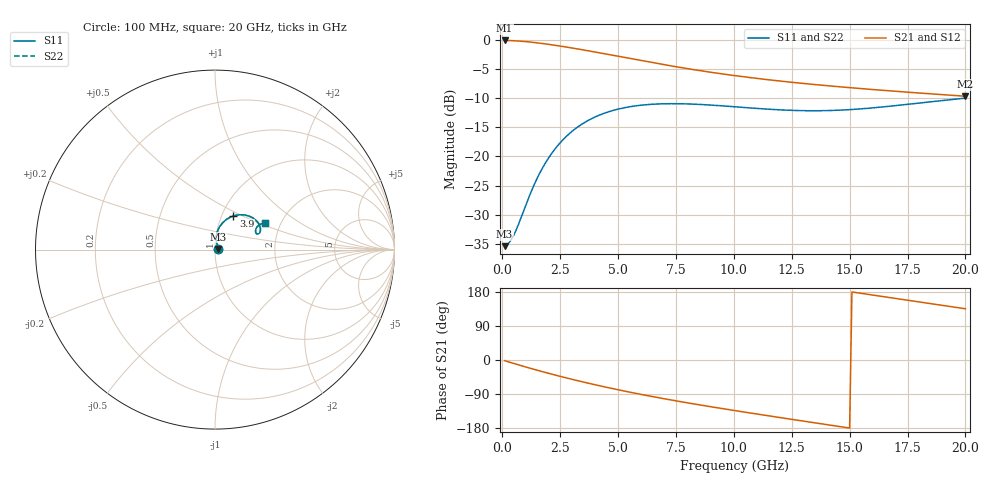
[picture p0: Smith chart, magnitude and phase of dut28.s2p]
! Created with skrf 1.9.0 (http://scikit-rf.org).
# GHz S RI R 50.0
!freq ReS11 ImS11 ReS21 ImS21 ReS12 ImS12 ReS22 ImS22
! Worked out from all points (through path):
!   200 points, 100 MHz to 20 GHz, reference 50 ohm
!   highest |S21| = -0.15 dB at 100 MHz (marker M1); lowest = -9.7 dB at 20 GHz (marker M2)
!   group delay of S21, straight-line fit = 29.5 ps
!   lowest |S11| = -35.3 dB at 100 MHz (marker M3), VSWR 1.03, Z = 51.7 + j0.3 ohm
!   |S11| at or under -10 dB: start of sweep to end of sweep
!   |S22| runs from -35.3 to -10.0 dB; largest |S21 - S12| = 2e-15
!   S11 on the Smith chart (normalised r, x): 100 MHz: 1.03, +0.01; 3.9 GHz: 1.13, +0.44; 20 GHz: 1.66, +0.54
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0.1  0.0168 0.0029  0.9823 -0.0317  0.9823 -0.0317  0.0168 0.0029
0.3  0.016 0.009  0.9764 -0.0946  0.9764 -0.0946  0.016 0.009
0.5  0.0145 0.0156  0.9647 -0.1563  0.9647 -0.1563  0.0145 0.0156
0.9  0.0103 0.0318  0.9259 -0.2729  0.9259 -0.2729  0.0103 0.0318
1.4  0.00696 0.0583  0.8538 -0.401  0.8538 -0.401  0.00696 0.0583
1.7  0.00799 0.0769  0.8014 -0.467  0.8014 -0.467  0.00799 0.0769
2  0.0122 0.0965  0.7442 -0.5245  0.7442 -0.5245  0.0122 0.0965
2.7  0.0349 0.14  0.5999 -0.6265  0.5999 -0.6265  0.0349 0.14
3.5  0.0774 0.1763  0.4303 -0.6929  0.4303 -0.6929  0.0774 0.1763
3.9  0.1017 0.1869  0.3481 -0.7087  0.3481 -0.7087  0.1017 0.1869
4.5  0.1381 0.1939  0.2317 -0.7144  0.2317 -0.7144  0.1381 0.1939
5.2  0.1762 0.1904  0.1094 -0.6991  0.1094 -0.6991  0.1762 0.1904
6  0.2105 0.1764  -0.0102 -0.6611  -0.0102 -0.6611  0.2105 0.1764
6.8  0.2339 0.1571  -0.1087 -0.6093  -0.1087 -0.6093  0.2339 0.1571
8.3  0.2526 0.1211  -0.2435 -0.4951  -0.2435 -0.4951  0.2526 0.1211
10.1  0.2487 0.0935  -0.3407 -0.3521  -0.3407 -0.3521  0.2487 0.0935
11.7  0.237 0.0868  -0.3852 -0.2296  -0.3852 -0.2296  0.237 0.0868
13.4  0.2273 0.0945  -0.3998 -0.1077  -0.3998 -0.1077  0.2273 0.0945
15  0.2263 0.1099  -0.388 -0.00292  -0.388 -0.00292  0.2263 0.1099
16.7  0.2361 0.1282  -0.3522 0.0947  -0.3522 0.0947  0.2361 0.1282
18.4  0.2554 0.1422  -0.2971 0.1744  -0.2971 0.1744  0.2554 0.1422
20  0.2788 0.1476  -0.2328 0.2308  -0.2328 0.2308  0.2788 0.1476
